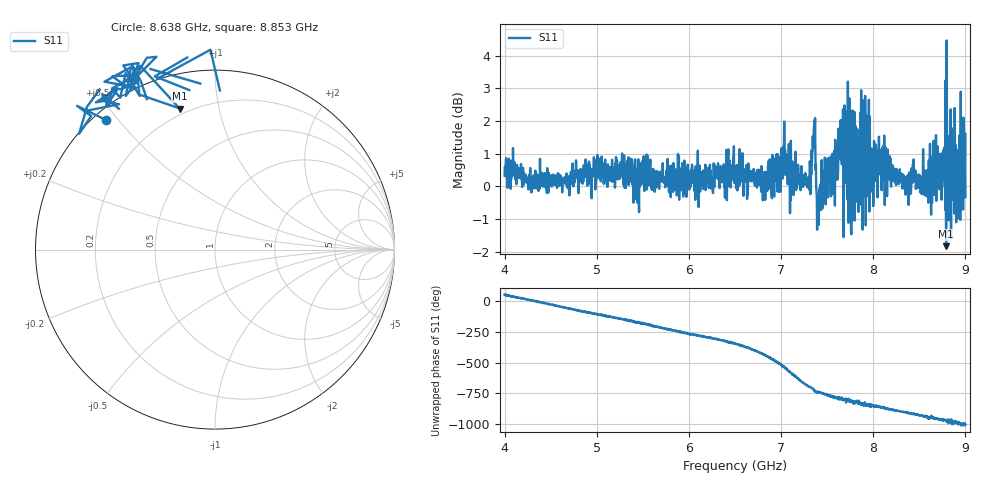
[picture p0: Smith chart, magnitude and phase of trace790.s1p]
! Created with skrf 1.8.0 (http://scikit-rf.org).
# Hz S RI R 50.0
!freq ReS11 ImS11
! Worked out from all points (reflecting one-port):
!   1601 points, 4 GHz to 9 GHz, reference 50 ohm
!   lowest |S11| = -1.8 dB at 8.791 GHz (marker M1), VSWR 9.51, Z = 8.42 + j38.4 ohm
!   phase of S11 starts at 52 deg and turns -1055 deg over the sweep
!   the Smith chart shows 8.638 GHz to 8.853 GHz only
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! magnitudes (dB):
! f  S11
! 4 GHz  0.3
! 4.625 GHz  -0.2
! 5.25 GHz  0.2
! 5.875 GHz  0.3
! 6.5 GHz  0.6
! 6.806 GHz  -0.1
! 6.972 GHz  0.5
! 7.022 GHz  0.4
! 7.125 GHz  0.7
! 7.294 GHz  0.0
! 7.353 GHz  1.5
! 7.409 GHz  -1.2
! 7.481 GHz  0.6
! 7.594 GHz  0.6
! 7.647 GHz  2.0
! 7.75 GHz  0.9
! 7.784 GHz  0.2
! 7.8 GHz  -1.0
! 7.891 GHz  1.2
! 7.981 GHz  -0.2
! 8.05 GHz  1.1
! 8.375 GHz  -0.1
! 8.438 GHz  0.8
! 8.612 GHz  0.1
! 8.791 GHz  -1.8
! 8.919 GHz  -0.2
! 8.972 GHz  1.1
! 9 GHz  -0.3
